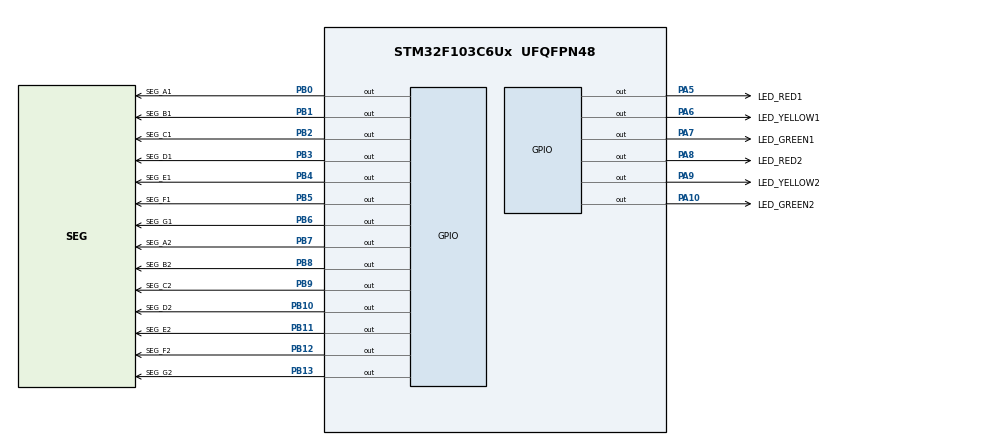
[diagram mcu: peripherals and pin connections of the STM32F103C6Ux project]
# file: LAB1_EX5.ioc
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Mcu.Family=STM32F1
Mcu.Name=STM32F103C6Ux
Mcu.Package=UFQFPN48
NVIC.PriorityGroup=NVIC_PRIORITYGROUP_4
PA10.GPIO_Label=LED_GREEN2
PA10.Signal=GPIO_Output
PA5.GPIO_Label=LED_RED1
PA5.Signal=GPIO_Output
PA6.GPIO_Label=LED_YELLOW1
PA6.Signal=GPIO_Output
PA7.GPIO_Label=LED_GREEN1
PA7.Signal=GPIO_Output
PA8.GPIO_Label=LED_RED2
PA8.Signal=GPIO_Output
PA9.GPIO_Label=LED_YELLOW2
PA9.Signal=GPIO_Output
PB0.GPIO_Label=SEG_A1
PB0.Signal=GPIO_Output
PB1.GPIO_Label=SEG_B1
PB1.Signal=GPIO_Output
PB10.GPIO_Label=SEG_D2
PB10.Signal=GPIO_Output
PB11.GPIO_Label=SEG_E2
PB11.Signal=GPIO_Output
PB12.GPIO_Label=SEG_F2
PB12.Signal=GPIO_Output
PB13.GPIO_Label=SEG_G2
PB13.Signal=GPIO_Output
PB2.GPIO_Label=SEG_C1
PB2.Signal=GPIO_Output
PB3.GPIO_Label=SEG_D1
PB3.Signal=GPIO_Output
PB4.GPIO_Label=SEG_E1
PB4.Signal=GPIO_Output
PB5.GPIO_Label=SEG_F1
PB5.Signal=GPIO_Output
PB6.GPIO_Label=SEG_G1
PB6.Signal=GPIO_Output
PB7.GPIO_Label=SEG_A2
PB7.Signal=GPIO_Output
PB8.GPIO_Label=SEG_B2
PB8.Signal=GPIO_Output
PB9.GPIO_Label=SEG_C2
PB9.Signal=GPIO_Output
ProjectManager.HeapSize=0x200
ProjectManager.StackSize=0x400
ProjectManager.TargetToolchain=STM32CubeIDE
RCC.APB1Freq_Value=8000000
RCC.APB2Freq_Value=8000000
VP_SYS_VS_ND.Mode=No_Debug
board=custom

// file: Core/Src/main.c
/* USER CODE BEGIN Header */
/**
  ******************************************************************************
  * @file           : main.c
  * @brief          : Main program body
  ******************************************************************************
  * @attention
  *
  * <h2><center>&copy; Copyright (c) 2024 STMicroelectronics.
  * All rights reserved.</center></h2>
  *
  * This software component is licensed by ST under BSD 3-Clause license,
  * the "License"; You may not use this file except in compliance with the
  * License. You may obtain a copy of the License at:
  *                        opensource.org/licenses/BSD-3-Clause
  *
  ******************************************************************************
  */
/* USER CODE END Header */
#include "main.h"

void SystemClock_Config(void);
static void MX_GPIO_Init(void);

int main(void)
{

  /* MCU Configuration--------------------------------------------------------*/

  /* Reset of all peripherals, Initializes the Flash interface and the Systick. */
  HAL_Init();

  /* Configure the system clock */
  SystemClock_Config();

  /* Initialize all configured peripherals */
  MX_GPIO_Init();

  /* Infinite loop */
  /* USER CODE BEGIN WHILE */
	int count = 0;
	int counter1_RED = 5;
	int counter1_YELLOW = 2;
	int counter1_GREEN = 3;
	int counter2_RED = 5;
	int counter2_YELLOW = 2;
	int counter2_GREEN = 3;
	void display7SEG1(int num1) {
		if (num1 < 1 || num1 > 5)
			return;
		switch (num1) {
		case 1:
			HAL_GPIO_WritePin(SEG_A1_GPIO_Port, SEG_A1_Pin, SET);
			HAL_GPIO_WritePin(SEG_B1_GPIO_Port, SEG_B1_Pin, RESET);
			HAL_GPIO_WritePin(SEG_C1_GPIO_Port, SEG_C1_Pin, RESET);
			HAL_GPIO_WritePin(SEG_D1_GPIO_Port, SEG_D1_Pin, SET);
			HAL_GPIO_WritePin(SEG_E1_GPIO_Port, SEG_E1_Pin, SET);
			HAL_GPIO_WritePin(SEG_F1_GPIO_Port, SEG_F1_Pin, SET);
			HAL_GPIO_WritePin(SEG_G1_GPIO_Port, SEG_G1_Pin, SET);
			break;
		case 2:
			HAL_GPIO_WritePin(SEG_A1_GPIO_Port, SEG_A1_Pin, RESET);
			HAL_GPIO_WritePin(SEG_B1_GPIO_Port, SEG_B1_Pin, RESET);
			HAL_GPIO_WritePin(SEG_C1_GPIO_Port, SEG_C1_Pin, SET);
			HAL_GPIO_WritePin(SEG_D1_GPIO_Port, SEG_D1_Pin, RESET);
			HAL_GPIO_WritePin(SEG_E1_GPIO_Port, SEG_E1_Pin, RESET);
			HAL_GPIO_WritePin(SEG_F1_GPIO_Port, SEG_F1_Pin, SET);
			HAL_GPIO_WritePin(SEG_G1_GPIO_Port, SEG_G1_Pin, RESET);
			break;
		case 3:
			HAL_GPIO_WritePin(SEG_A1_GPIO_Port, SEG_A1_Pin, RESET);
			HAL_GPIO_WritePin(SEG_B1_GPIO_Port, SEG_B1_Pin, RESET);
			HAL_GPIO_WritePin(SEG_C1_GPIO_Port, SEG_C1_Pin, RESET);
			HAL_GPIO_WritePin(SEG_D1_GPIO_Port, SEG_D1_Pin, RESET);
			HAL_GPIO_WritePin(SEG_E1_GPIO_Port, SEG_E1_Pin, SET);
			HAL_GPIO_WritePin(SEG_F1_GPIO_Port, SEG_F1_Pin, SET);
			HAL_GPIO_WritePin(SEG_G1_GPIO_Port, SEG_G1_Pin, RESET);
			break;
		case 4:
			HAL_GPIO_WritePin(SEG_A1_GPIO_Port, SEG_A1_Pin, SET);
			HAL_GPIO_WritePin(SEG_B1_GPIO_Port, SEG_B1_Pin, RESET);
			HAL_GPIO_WritePin(SEG_C1_GPIO_Port, SEG_C1_Pin, RESET);
			HAL_GPIO_WritePin(SEG_D1_GPIO_Port, SEG_D1_Pin, SET);
			HAL_GPIO_WritePin(SEG_E1_GPIO_Port, SEG_E1_Pin, SET);
			HAL_GPIO_WritePin(SEG_F1_GPIO_Port, SEG_F1_Pin, RESET);
			HAL_GPIO_WritePin(SEG_G1_GPIO_Port, SEG_G1_Pin, RESET);
			break;
		case 5:
			HAL_GPIO_WritePin(SEG_A1_GPIO_Port, SEG_A1_Pin, RESET);
			HAL_GPIO_WritePin(SEG_B1_GPIO_Port, SEG_B1_Pin, SET);
			HAL_GPIO_WritePin(SEG_C1_GPIO_Port, SEG_C1_Pin, RESET);
			HAL_GPIO_WritePin(SEG_D1_GPIO_Port, SEG_D1_Pin, RESET);
			HAL_GPIO_WritePin(SEG_E1_GPIO_Port, SEG_E1_Pin, SET);
			HAL_GPIO_WritePin(SEG_F1_GPIO_Port, SEG_F1_Pin, RESET);
			HAL_GPIO_WritePin(SEG_G1_GPIO_Port, SEG_G1_Pin, RESET);
			break;
		}
	}

	void display7SEG2(int num2) {
		if (num2 < 1 || num2 > 5)
			return;
		switch (num2) {
		case 1:
			HAL_GPIO_WritePin(SEG_A2_GPIO_Port, SEG_A2_Pin, SET);
			HAL_GPIO_WritePin(SEG_B2_GPIO_Port, SEG_B2_Pin, RESET);
			HAL_GPIO_WritePin(SEG_C2_GPIO_Port, SEG_C2_Pin, RESET);
			HAL_GPIO_WritePin(SEG_D2_GPIO_Port, SEG_D2_Pin, SET);
			HAL_GPIO_WritePin(SEG_E2_GPIO_Port, SEG_E2_Pin, SET);
			HAL_GPIO_WritePin(SEG_F2_GPIO_Port, SEG_F2_Pin, SET);
			HAL_GPIO_WritePin(SEG_G2_GPIO_Port, SEG_G2_Pin, SET);
			break;
		case 2:
			HAL_GPIO_WritePin(SEG_A2_GPIO_Port, SEG_A2_Pin, RESET);
			HAL_GPIO_WritePin(SEG_B2_GPIO_Port, SEG_B2_Pin, RESET);
			HAL_GPIO_WritePin(SEG_C2_GPIO_Port, SEG_C2_Pin, SET);
			HAL_GPIO_WritePin(SEG_D2_GPIO_Port, SEG_D2_Pin, RESET);
			HAL_GPIO_WritePin(SEG_E2_GPIO_Port, SEG_E2_Pin, RESET);
			HAL_GPIO_WritePin(SEG_F2_GPIO_Port, SEG_F2_Pin, SET);
			HAL_GPIO_WritePin(SEG_G2_GPIO_Port, SEG_G2_Pin, RESET);
			break;
		case 3:
			HAL_GPIO_WritePin(SEG_A2_GPIO_Port, SEG_A2_Pin, RESET);
			HAL_GPIO_WritePin(SEG_B2_GPIO_Port, SEG_B2_Pin, RESET);
			HAL_GPIO_WritePin(SEG_C2_GPIO_Port, SEG_C2_Pin, RESET);
			HAL_GPIO_WritePin(SEG_D2_GPIO_Port, SEG_D2_Pin, RESET);
			HAL_GPIO_WritePin(SEG_E2_GPIO_Port, SEG_E2_Pin, SET);
			HAL_GPIO_WritePin(SEG_F2_GPIO_Port, SEG_F2_Pin, SET);
			HAL_GPIO_WritePin(SEG_G2_GPIO_Port, SEG_G2_Pin, RESET);
			break;
		case 4:
			HAL_GPIO_WritePin(SEG_A2_GPIO_Port, SEG_A2_Pin, SET);
			HAL_GPIO_WritePin(SEG_B2_GPIO_Port, SEG_B2_Pin, RESET);
			HAL_GPIO_WritePin(SEG_C2_GPIO_Port, SEG_C2_Pin, RESET);
			HAL_GPIO_WritePin(SEG_D2_GPIO_Port, SEG_D2_Pin, SET);
			HAL_GPIO_WritePin(SEG_E2_GPIO_Port, SEG_E2_Pin, SET);
			HAL_GPIO_WritePin(SEG_F2_GPIO_Port, SEG_F2_Pin, RESET);
			HAL_GPIO_WritePin(SEG_G2_GPIO_Port, SEG_G2_Pin, RESET);
			break;
		case 5:
			HAL_GPIO_WritePin(SEG_A2_GPIO_Port, SEG_A2_Pin, RESET);
			HAL_GPIO_WritePin(SEG_B2_GPIO_Port, SEG_B2_Pin, SET);
			HAL_GPIO_WritePin(SEG_C2_GPIO_Port, SEG_C2_Pin, RESET);
			HAL_GPIO_WritePin(SEG_D2_GPIO_Port, SEG_D2_Pin, RESET);
			HAL_GPIO_WritePin(SEG_E2_GPIO_Port, SEG_E2_Pin, SET);
			HAL_GPIO_WritePin(SEG_F2_GPIO_Port, SEG_F2_Pin, RESET);
			HAL_GPIO_WritePin(SEG_G2_GPIO_Port, SEG_G2_Pin, RESET);
			break;
		}
	}

	while (1) {
		if (count <= 4) {
			HAL_GPIO_WritePin(LED_RED1_GPIO_Port, LED_RED1_Pin, SET);
			HAL_GPIO_WritePin(LED_YELLOW1_GPIO_Port, LED_YELLOW1_Pin, RESET);
			HAL_GPIO_WritePin(LED_GREEN1_GPIO_Port, LED_GREEN1_Pin, RESET);
			display7SEG1(counter1_RED--);
			if (count < 3) {
				HAL_GPIO_WritePin(LED_RED2_GPIO_Port, LED_RED2_Pin, RESET);
				HAL_GPIO_WritePin(LED_YELLOW2_GPIO_Port, LED_YELLOW2_Pin,
						RESET);
				HAL_GPIO_WritePin(LED_GREEN2_GPIO_Port, LED_GREEN2_Pin, SET);
				display7SEG2(counter2_GREEN--);
			} else {
				HAL_GPIO_WritePin(LED_RED2_GPIO_Port, LED_RED2_Pin, RESET);
				HAL_GPIO_WritePin(LED_YELLOW2_GPIO_Port, LED_YELLOW2_Pin, SET);
				HAL_GPIO_WritePin(LED_GREEN2_GPIO_Port, LED_GREEN2_Pin, RESET);
				display7SEG2(counter2_YELLOW--);
			}
			count++;
		} else if (count > 4 && count < 10) {
			HAL_GPIO_WritePin(LED_RED2_GPIO_Port, LED_RED2_Pin, SET);
			HAL_GPIO_WritePin(LED_YELLOW2_GPIO_Port, LED_YELLOW2_Pin, RESET);
			HAL_GPIO_WritePin(LED_GREEN2_GPIO_Port, LED_GREEN2_Pin, RESET);
			display7SEG2(counter2_RED--);
			if (count < 8) {
				HAL_GPIO_WritePin(LED_RED1_GPIO_Port, LED_RED1_Pin, RESET);
				HAL_GPIO_WritePin(LED_YELLOW1_GPIO_Port, LED_YELLOW1_Pin,
						RESET);
				HAL_GPIO_WritePin(LED_GREEN1_GPIO_Port, LED_GREEN1_Pin, SET);
				display7SEG1(counter1_GREEN--);
			} else {
				HAL_GPIO_WritePin(LED_RED1_GPIO_Port, LED_RED1_Pin, RESET);
				HAL_GPIO_WritePin(LED_YELLOW1_GPIO_Port, LED_YELLOW1_Pin, SET);
				HAL_GPIO_WritePin(LED_GREEN1_GPIO_Port, LED_GREEN1_Pin, RESET);
				display7SEG1(counter1_YELLOW--);
			}
			count++;
		} else {
			count = 0;
			counter1_RED = 5;
			counter1_YELLOW = 2;
			counter1_GREEN = 3;
			counter2_RED = 5;
			counter2_YELLOW = 2;
			counter2_GREEN = 3;
		}
		HAL_Delay(1000);

    /* USER CODE END WHILE */

  }
}

void SystemClock_Config(void)
{
  RCC_OscInitTypeDef RCC_OscInitStruct = {0};
  RCC_ClkInitTypeDef RCC_ClkInitStruct = {0};

  /** Initializes the RCC Oscillators according to the specified parameters
  * in the RCC_OscInitTypeDef structure.
  */
  RCC_OscInitStruct.OscillatorType = RCC_OSCILLATORTYPE_HSI;
  RCC_OscInitStruct.HSIState = RCC_HSI_ON;
  RCC_OscInitStruct.HSICalibrationValue = RCC_HSICALIBRATION_DEFAULT;
  RCC_OscInitStruct.PLL.PLLState = RCC_PLL_NONE;
  if (HAL_RCC_OscConfig(&RCC_OscInitStruct) != HAL_OK)
  {
    Error_Handler();
  }
  /** Initializes the CPU, AHB and APB buses clocks
  */
  RCC_ClkInitStruct.ClockType = RCC_CLOCKTYPE_HCLK|RCC_CLOCKTYPE_SYSCLK
                              |RCC_CLOCKTYPE_PCLK1|RCC_CLOCKTYPE_PCLK2;
  RCC_ClkInitStruct.SYSCLKSource = RCC_SYSCLKSOURCE_HSI;
  RCC_ClkInitStruct.AHBCLKDivider = RCC_SYSCLK_DIV1;
  RCC_ClkInitStruct.APB1CLKDivider = RCC_HCLK_DIV1;
  RCC_ClkInitStruct.APB2CLKDivider = RCC_HCLK_DIV1;

  if (HAL_RCC_ClockConfig(&RCC_ClkInitStruct, FLASH_LATENCY_0) != HAL_OK)
  {
    Error_Handler();
  }
}

static void MX_GPIO_Init(void)
{
  GPIO_InitTypeDef GPIO_InitStruct = {0};

  /* GPIO Ports Clock Enable */
  __HAL_RCC_GPIOA_CLK_ENABLE();
  __HAL_RCC_GPIOB_CLK_ENABLE();

  /*Configure GPIO pin Output Level */
  HAL_GPIO_WritePin(GPIOA, LED_RED1_Pin|LED_YELLOW1_Pin|LED_GREEN1_Pin|LED_RED2_Pin
                          |LED_YELLOW2_Pin|LED_GREEN2_Pin, GPIO_PIN_RESET);

  /*Configure GPIO pin Output Level */
  HAL_GPIO_WritePin(GPIOB, SEG_A1_Pin|SEG_B1_Pin|SEG_C1_Pin|SEG_D2_Pin
                          |SEG_E2_Pin|SEG_F2_Pin|SEG_G2_Pin|SEG_D1_Pin
                          |SEG_E1_Pin|SEG_F1_Pin|SEG_G1_Pin|SEG_A2_Pin
                          |SEG_B2_Pin|SEG_C2_Pin, GPIO_PIN_RESET);

  /*Configure GPIO pins : LED_RED1_Pin LED_YELLOW1_Pin LED_GREEN1_Pin LED_RED2_Pin
                           LED_YELLOW2_Pin LED_GREEN2_Pin */
  GPIO_InitStruct.Pin = LED_RED1_Pin|LED_YELLOW1_Pin|LED_GREEN1_Pin|LED_RED2_Pin
                          |LED_YELLOW2_Pin|LED_GREEN2_Pin;
  GPIO_InitStruct.Mode = GPIO_MODE_OUTPUT_PP;
  GPIO_InitStruct.Pull = GPIO_NOPULL;
  GPIO_InitStruct.Speed = GPIO_SPEED_FREQ_LOW;
  HAL_GPIO_Init(GPIOA, &GPIO_InitStruct);

  /*Configure GPIO pins : SEG_A1_Pin SEG_B1_Pin SEG_C1_Pin SEG_D2_Pin
                           SEG_E2_Pin SEG_F2_Pin SEG_G2_Pin SEG_D1_Pin
                           SEG_E1_Pin SEG_F1_Pin SEG_G1_Pin SEG_A2_Pin
                           SEG_B2_Pin SEG_C2_Pin */
  GPIO_InitStruct.Pin = SEG_A1_Pin|SEG_B1_Pin|SEG_C1_Pin|SEG_D2_Pin
                          |SEG_E2_Pin|SEG_F2_Pin|SEG_G2_Pin|SEG_D1_Pin
                          |SEG_E1_Pin|SEG_F1_Pin|SEG_G1_Pin|SEG_A2_Pin
                          |SEG_B2_Pin|SEG_C2_Pin;
  GPIO_InitStruct.Mode = GPIO_MODE_OUTPUT_PP;
  GPIO_InitStruct.Pull = GPIO_NOPULL;
  GPIO_InitStruct.Speed = GPIO_SPEED_FREQ_LOW;
  HAL_GPIO_Init(GPIOB, &GPIO_InitStruct);

}

void Error_Handler(void)
{
  __disable_irq();
  while (1)
  {
  }
}

/************************ (C) COPYRIGHT STMicroelectronics *****END OF FILE****/
